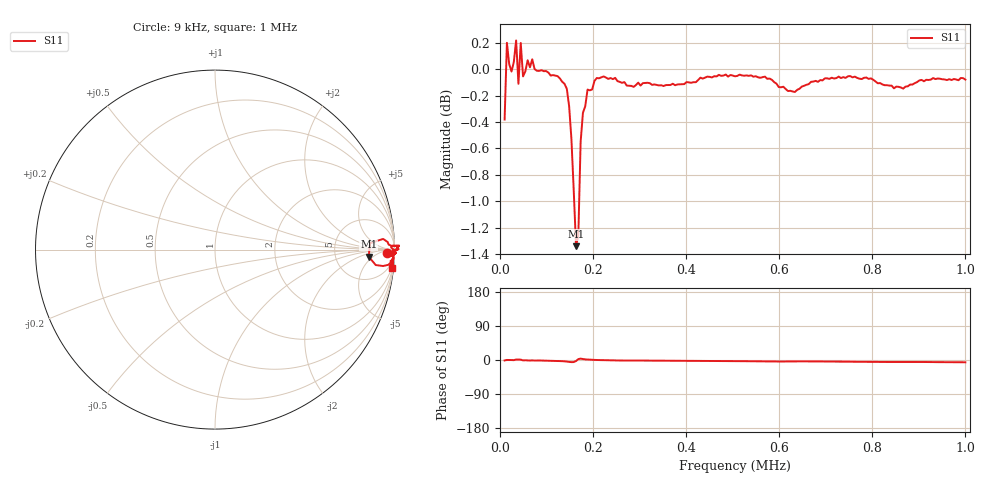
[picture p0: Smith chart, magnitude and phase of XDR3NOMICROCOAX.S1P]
!Agilent Technologies,E5071C,MY46100305,A.07.02
!Date: Fri Jan 01 00:21:15 1988
!Data & Calibration Information:
!Freq	S11:SOLT1(ON)
# Hz S MA R 50
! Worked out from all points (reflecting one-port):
!   201 points, 9 kHz to 1 MHz, reference 50 ohm
!   lowest |S11| = -1.3 dB at 162.6 kHz (marker M1), VSWR 12.99, Z = 596 - j178 ohm
!   phase of S11 starts at -1 deg and turns -5 deg over the sweep
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9000  0.957 -1.2
13955  1.023 0.2
23865  0.9979 -0.1
28820  1.006 -0.4
33775  1.025 1.3
38730  0.9873 1.2
43685  1.023 1.0
48640  0.9936 -1.1
63505  1.002 -1.5
68460  1.009 -1.0
132875  0.989 -3.1
142785  0.983 -4.2
152695  0.9409 -5.6
157650  0.8998 -5.5
162605  0.857 -2.7
167560  0.8651 2.4
172515  0.9387 3.6
177470  0.9626 2.5
187380  0.9823 1.3
222065  0.9936 -0.7
256750  0.9889 -1.3
380625  0.9867 -1.9
504500  0.9937 -3.0
603600  0.9843 -4.0
628375  0.9807 -3.7
752250  0.9939 -4.6
876125  0.9851 -5.0
1000000  0.9909 -6.0
